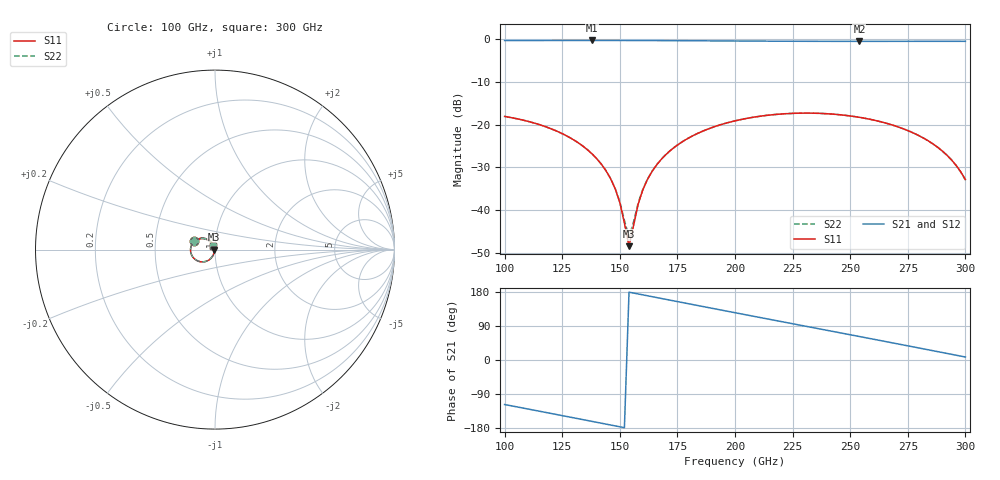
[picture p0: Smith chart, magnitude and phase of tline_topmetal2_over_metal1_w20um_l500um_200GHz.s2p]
#  GHZ S DB R 50
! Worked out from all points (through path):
!   101 points, 100 GHz to 300 GHz, reference 50 ohm
!   highest |S21| = -0.31 dB at 138 GHz (marker M1); lowest = -0.5 dB at 254 GHz (marker M2)
!   group delay of S21, straight-line fit = 3.26 ps
!   lowest |S11| = -48.4 dB at 154 GHz (marker M3), VSWR 1.01, Z = 49.6 + j0.0087 ohm
!   |S11| at or under -10 dB: start of sweep to end of sweep
!   |S22| runs from -46.4 to -17.3 dB; largest |S21 - S12| = 1.6e-14
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100  -18.09 158.2  -0.33 -117.5  -0.33 -117.5  -18.10 158.5
120  -20.94 135.1  -0.32 -140.9  -0.32 -140.9  -20.94 135.7
134  -25.04 119.8  -0.31 -157.3  -0.31 -157.3  -25.04 120.9
138  -26.87 116.0  -0.31 -162.1  -0.31 -162.1  -26.87 117.3
144  -30.79 111.6  -0.32 -169.2  -0.32 -169.2  -30.76 113.6
148  -35.02 111.6  -0.32 -173.9  -0.32 -173.9  -34.93 114.9
150  -38.24 114.9  -0.32 -176.3  -0.32 -176.3  -38.03 119.5
154  -48.44 178.7  -0.32 179.0  -0.32 179.0  -46.35 -179.7
158  -38.57 -111.3  -0.33 174.3  -0.33 174.3  -38.26 -115.7
160  -35.26 -107.6  -0.33 171.9  -0.33 171.9  -35.10 -110.8
164  -30.96 -107.4  -0.34 167.2  -0.34 167.2  -30.90 -109.4
168  -28.13 -110.0  -0.35 162.4  -0.35 162.4  -28.09 -111.4
182  -22.53 -123.7  -0.39 145.9  -0.39 145.9  -22.52 -124.4
200  -19.12 -143.4  -0.44 124.8  -0.44 124.8  -19.12 -143.8
218  -17.61 -163.4  -0.49 103.8  -0.49 103.8  -17.61 -163.7
234  -17.33 178.8  -0.51 85.2  -0.51 85.2  -17.33 178.6
254  -18.30 156.8  -0.52 62.0  -0.52 62.0  -18.30 156.6
268  -20.05 141.8  -0.52 45.6  -0.52 45.6  -20.05 141.5
278  -22.10 131.7  -0.52 33.9  -0.52 33.9  -22.11 131.2
288  -25.32 123.0  -0.51 22.1  -0.51 22.1  -25.33 122.2
294  -28.27 119.8  -0.51 15.0  -0.51 15.0  -28.30 118.5
300  -32.84 122.1  -0.52 7.9  -0.52 7.9  -32.97 119.8
